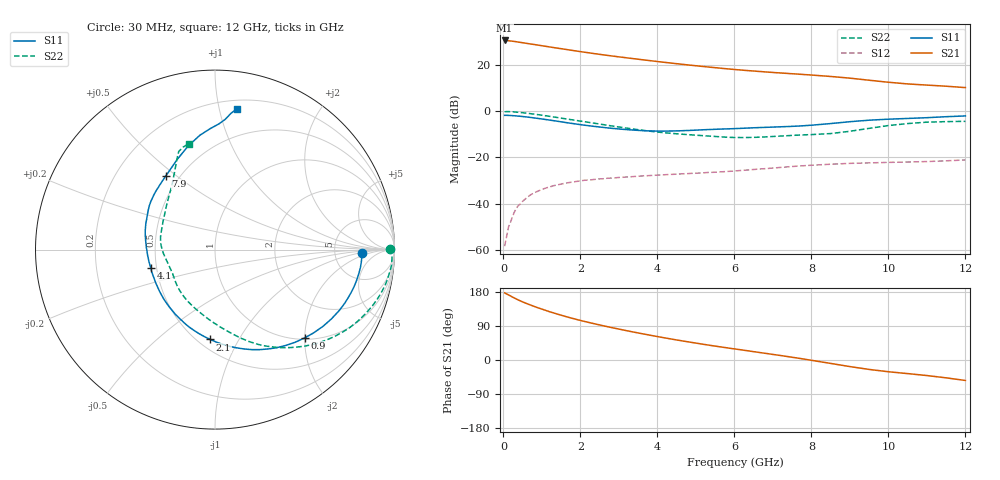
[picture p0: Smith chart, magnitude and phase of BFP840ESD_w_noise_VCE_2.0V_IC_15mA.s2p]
! Infineon Technologies  Discrete & RF Semiconductors
! BFP840ESD
! VCE =  2.0 V,  IC =  15 mA
! Common Emitter S-Parameters:  May 2012
# GHz  S  MA  R  50
!  f  S11  S21  S12  S22
! GHz  MAG  ANG  MAG  ANG  MAG  ANG  MAG  ANG
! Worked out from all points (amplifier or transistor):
!   93 points, 30 MHz to 12 GHz, reference 50 ohm
!   highest |S21| = 30.7 dB at 30 MHz (marker M1)
!   |S21| within 3 dB of that: start of sweep to 1.274 GHz
!   unconditionally stable (mu >= 1): 5.176 GHz to 8.588 GHz
!   at 1.1 GHz: K = 0.35, MSG = 30.7 dB, |S12| = -33.2 dB
!   at 4.2 GHz: K = 0.90, MSG = 24.3 dB, |S12| = -27.5 dB
!   at 12 GHz: K = 0.73, MSG = 15.7 dB, |S12| = -21.1 dB
!   lowest NFmin = 0.99 dB at 450 MHz
!   S11 on the Smith chart (normalised r, x): 30 MHz: 9.90, -1.11; 900 MHz: 1.03, -2.00; 2.1 GHz: 0.57, -0.77; 4.1 GHz: 0.46, -0.11; 7.9 GHz: 0.42, +0.46; 12 GHz: 0.27, +1.13
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0.03  0.8186 -1.3  34.28 177.1  0.0012 81.2  0.9737 0.3
0.13  0.8165 -7.0  33.81 171.9  0.0031 66.4  0.9877 -4.9
0.23  0.8074 -12.3  33.06 166.3  0.0051 75.2  0.9762 -9.3
0.43  0.782 -22.5  31.23 156.4  0.0097 73.9  0.9449 -17.1
0.6  0.7548 -30.8  29.67 149.1  0.0133 69.9  0.9108 -23.2
0.8  0.7191 -40.2  28.02 141.3  0.0171 64.9  0.8684 -29.9
0.9  0.701 -44.6  27.17 137.7  0.0188 62.6  0.8458 -33.0
1.2  0.6459 -57.8  24.8 127.4  0.023 56.4  0.7785 -41.8
1.4  0.6102 -66.0  23.37 121.2  0.0255 52.5  0.7341 -47.1
1.7  0.5588 -78.0  21.43 112.4  0.0286 47.6  0.6708 -54.6
2.1  0.5014 -93.0  19.11 101.9  0.0321 42.8  0.597 -63.5
2.6  0.4474 -111.1  16.7 90.2  0.0347 38.1  0.5145 -73.7
3.1  0.4081 -128.9  14.77 79.4  0.0373 34.9  0.4449 -83.8
3.6  0.3824 -146.4  13.13 69.4  0.0398 32.5  0.39 -95.1
4.1  0.3725 -163.7  11.72 60.0  0.0418 30.2  0.3489 -107.5
4.9  0.3881 173.6  9.901 46.2  0.0454 27.6  0.3082 -126.7
6.1  0.4253 152.1  7.932 27.9  0.0518 25.8  0.271 -153.5
7.9  0.4942 123.8  6.195 0.9  0.0672 16.8  0.3113 167.1
8.5  0.5432 113.0  5.689 -9.0  0.0715 12.3  0.3298 151.2
9.5  0.6429 97.5  4.714 -24.9  0.0764 4.3  0.4278 124.3
10.5  0.7008 88.2  3.923 -35.9  0.0797 -2.1  0.5432 113.1
12  0.7947 81.1  3.266 -54.0  0.0885 -9.2  0.6073 103.9
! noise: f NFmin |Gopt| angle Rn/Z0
0.45  0.99  0.16  1  0.14
0.9  1  0.16  3  0.13
1.5  1.01  0.16  7  0.13
1.9  1.02  0.14  11  0.12
2.4  1.02  0.11  16  0.11
3.5  1.03  0.02  54  0.1
5.5  1.06  0.09  -130  0.11
8  1.17  0.3  -112  0.13
10  1.29  0.51  -80  0.23
12  1.5  0.63  -66  0.32
